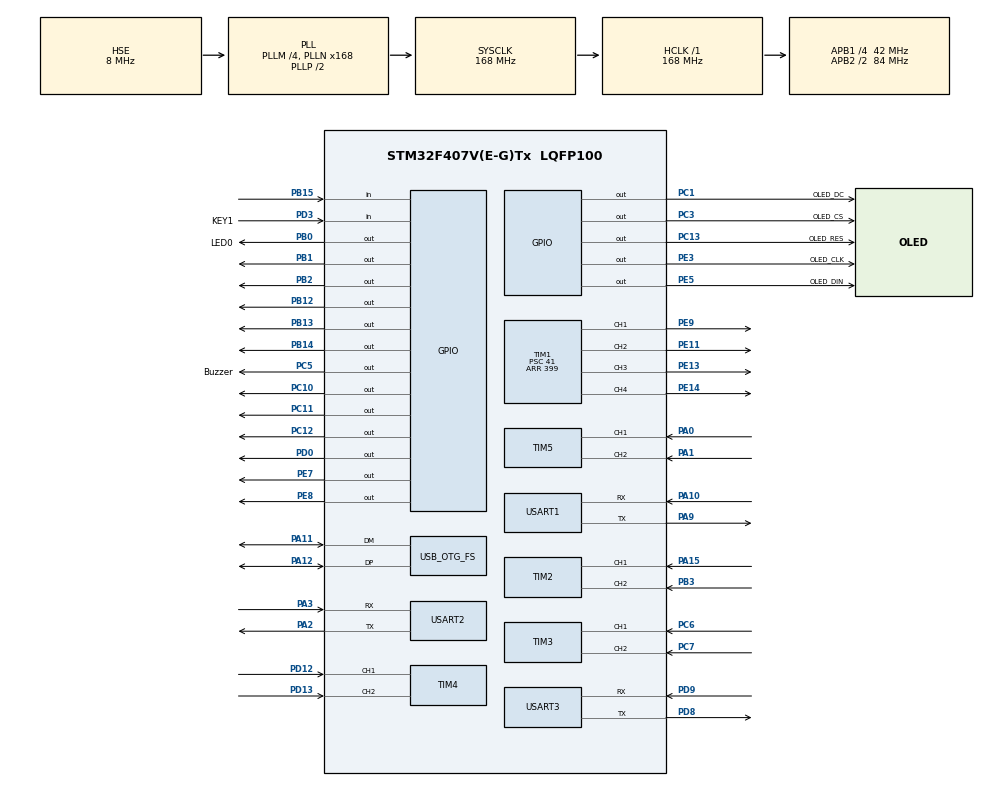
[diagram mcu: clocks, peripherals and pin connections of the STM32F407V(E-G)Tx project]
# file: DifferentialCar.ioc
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Dma.Request0=USART2_RX
Dma.USART2_RX.0.Direction=DMA_PERIPH_TO_MEMORY
Dma.USART2_RX.0.FIFOMode=DMA_FIFOMODE_DISABLE
Dma.USART2_RX.0.Instance=DMA1_Stream5
Dma.USART2_RX.0.MemDataAlignment=DMA_MDATAALIGN_BYTE
Dma.USART2_RX.0.MemInc=DMA_MINC_ENABLE
Dma.USART2_RX.0.Mode=DMA_CIRCULAR
Dma.USART2_RX.0.PeriphDataAlignment=DMA_PDATAALIGN_BYTE
Dma.USART2_RX.0.PeriphInc=DMA_PINC_DISABLE
Dma.USART2_RX.0.Priority=DMA_PRIORITY_HIGH
Mcu.Family=STM32F4
Mcu.Name=STM32F407V(E-G)Tx
Mcu.Package=LQFP100
NVIC.DMA1_Stream5_IRQn=true\:0\:0\:false\:false\:true\:false\:true\:true
NVIC.OTG_FS_IRQn=true\:0\:0\:false\:false\:true\:false\:true\:true
NVIC.PriorityGroup=NVIC_PRIORITYGROUP_4
NVIC.TIM6_DAC_IRQn=true\:10\:0\:true\:false\:true\:true\:true\:true
NVIC.TIM7_IRQn=true\:9\:0\:true\:false\:true\:true\:true\:true
NVIC.TIM8_TRG_COM_TIM14_IRQn=true\:15\:0\:false\:false\:true\:false\:true\:true
NVIC.TimeBase=TIM8_TRG_COM_TIM14_IRQn
NVIC.TimeBaseIP=TIM14
PA0-WKUP.Signal=S_TIM5_CH1
PA1.Signal=S_TIM5_CH2
PA10.Mode=Asynchronous
PA10.Signal=USART1_RX
PA11.Mode=Device_Only
PA11.Signal=USB_OTG_FS_DM
PA12.Mode=Device_Only
PA12.Signal=USB_OTG_FS_DP
PA13.Mode=Serial_Wire
PA13.Signal=SYS_JTMS-SWDIO
PA14.Mode=Serial_Wire
PA14.Signal=SYS_JTCK-SWCLK
PA15.Signal=S_TIM2_CH1_ETR
PA2.Mode=Asynchronous
PA2.Signal=USART2_TX
PA3.Mode=Asynchronous
PA3.Signal=USART2_RX
PA9.Mode=Asynchronous
PA9.Signal=USART1_TX
PB0.GPIO_Label=LED0
PB0.Signal=GPIO_Output
PB1.Signal=GPIO_Output
PB12.GPIO_PuPd=GPIO_PULLUP
PB12.GPIO_Speed=GPIO_SPEED_FREQ_VERY_HIGH
PB12.Signal=GPIO_Output
PB13.GPIO_PuPd=GPIO_PULLUP
PB13.GPIO_Speed=GPIO_SPEED_FREQ_VERY_HIGH
PB13.Signal=GPIO_Output
PB14.GPIO_PuPd=GPIO_PULLUP
PB14.GPIO_Speed=GPIO_SPEED_FREQ_VERY_HIGH
PB14.Signal=GPIO_Output
PB15.Signal=GPIO_Input
PB2.Signal=GPIO_Output
PB3.Signal=S_TIM2_CH2
PC1.GPIO_Label=OLED_DC
PC1.GPIO_Speed=GPIO_SPEED_FREQ_MEDIUM
PC1.PinState=GPIO_PIN_SET
PC1.Signal=GPIO_Output
PC10.Signal=GPIO_Output
PC11.Signal=GPIO_Output
PC12.Signal=GPIO_Output
PC13-ANTI_TAMP.GPIO_Label=OLED_RES
PC13-ANTI_TAMP.Signal=GPIO_Output
PC14-OSC32_IN.Mode=LSE-External-Oscillator
PC14-OSC32_IN.Signal=RCC_OSC32_IN
PC15-OSC32_OUT.Mode=LSE-External-Oscillator
PC15-OSC32_OUT.Signal=RCC_OSC32_OUT
PC3.GPIO_Label=OLED_CS
PC3.GPIO_Speed=GPIO_SPEED_FREQ_MEDIUM
PC3.PinState=GPIO_PIN_RESET
PC3.Signal=GPIO_Output
PC5.GPIO_Label=Buzzer
PC5.GPIO_Speed=GPIO_SPEED_FREQ_HIGH
PC5.Signal=GPIO_Output
PC6.Signal=S_TIM3_CH1
PC7.Signal=S_TIM3_CH2
PD0.Signal=GPIO_Output
PD12.Signal=S_TIM4_CH1
PD13.Signal=S_TIM4_CH2
PD3.GPIO_Label=KEY1
PD3.Signal=GPIO_Input
PD8.Mode=Asynchronous
PD8.Signal=USART3_TX
PD9.Mode=Asynchronous
PD9.Signal=USART3_RX
PE11.Signal=S_TIM1_CH2
PE13.Signal=S_TIM1_CH3
PE14.Signal=S_TIM1_CH4
PE3.GPIO_Label=OLED_CLK
PE3.GPIO_Speed=GPIO_SPEED_FREQ_MEDIUM
PE3.PinState=GPIO_PIN_SET
PE3.Signal=GPIO_Output
PE5.GPIO_Label=OLED_DIN
PE5.GPIO_Speed=GPIO_SPEED_FREQ_MEDIUM
PE5.PinState=GPIO_PIN_SET
PE5.Signal=GPIO_Output
PE7.Signal=GPIO_Output
PE8.Signal=GPIO_Output
PE9.Signal=S_TIM1_CH1
PH0-OSC_IN.Mode=HSE-External-Oscillator
PH0-OSC_IN.Signal=RCC_OSC_IN
PH1-OSC_OUT.Mode=HSE-External-Oscillator
PH1-OSC_OUT.Signal=RCC_OSC_OUT
ProjectManager.HeapSize=0x200
ProjectManager.StackSize=0x400
ProjectManager.TargetToolchain=MDK-ARM V5.32
RCC.48MHZClocksFreq_Value=48000000
RCC.AHBFreq_Value=168000000
RCC.APB1CLKDivider=RCC_HCLK_DIV4
RCC.APB1Freq_Value=42000000
RCC.APB1TimFreq_Value=84000000
RCC.APB2CLKDivider=RCC_HCLK_DIV2
RCC.APB2Freq_Value=84000000
RCC.APB2TimFreq_Value=168000000
RCC.CortexFreq_Value=168000000
RCC.HCLKFreq_Value=168000000
RCC.HSE_VALUE=8000000
RCC.HSI_VALUE=16000000
RCC.PLLM=4
RCC.PLLN=168
RCC.PLLQ=7
RCC.SYSCLKFreq_VALUE=168000000
RCC.SYSCLKSource=RCC_SYSCLKSOURCE_PLLCLK
RCC.VCOOutputFreq_Value=336000000
SH.S_TIM1_CH1.0=TIM1_CH1,PWM Generation1 CH1
SH.S_TIM1_CH2.0=TIM1_CH2,PWM Generation2 CH2
SH.S_TIM1_CH3.0=TIM1_CH3,PWM Generation3 CH3
SH.S_TIM1_CH4.0=TIM1_CH4,PWM Generation4 CH4
SH.S_TIM2_CH1_ETR.0=TIM2_CH1,Encoder_Interface
SH.S_TIM2_CH2.0=TIM2_CH2,Encoder_Interface
SH.S_TIM3_CH1.0=TIM3_CH1,Encoder_Interface
SH.S_TIM3_CH2.0=TIM3_CH2,Encoder_Interface
SH.S_TIM4_CH1.0=TIM4_CH1,Encoder_Interface
SH.S_TIM4_CH2.0=TIM4_CH2,Encoder_Interface
SH.S_TIM5_CH1.0=TIM5_CH1,Encoder_Interface
SH.S_TIM5_CH2.0=TIM5_CH2,Encoder_Interface
TIM1.Channel-PWM\ Generation1\ CH1=TIM_CHANNEL_1
TIM1.Channel-PWM\ Generation2\ CH2=TIM_CHANNEL_2
TIM1.Channel-PWM\ Generation3\ CH3=TIM_CHANNEL_3
TIM1.Channel-PWM\ Generation4\ CH4=TIM_CHANNEL_4
TIM1.Period=399
TIM1.Prescaler=41
TIM2.EncoderMode=TIM_ENCODERMODE_TI12
TIM3.EncoderMode=TIM_ENCODERMODE_TI12
TIM4.EncoderMode=TIM_ENCODERMODE_TI12
TIM5.EncoderMode=TIM_ENCODERMODE_TI12
TIM6.Period=999
TIM6.Prescaler=167
TIM7.Period=9999
TIM7.Prescaler=167
USART1.VirtualMode=VM_ASYNC
USART2.VirtualMode=VM_ASYNC
USART3.VirtualMode=VM_ASYNC
USB_DEVICE.CLASS_NAME_FS=CDC
USB_DEVICE.VirtualMode-CDC_FS=Cdc
USB_DEVICE.VirtualModeFS=Cdc_FS
USB_OTG_FS.VirtualMode=Device_Only
VP_SYS_VS_tim14.Mode=TIM14
VP_TIM6_VS_ClockSourceINT.Mode=Enable_Timer
VP_TIM7_VS_ClockSourceINT.Mode=Enable_Timer
VP_USB_DEVICE_VS_USB_DEVICE_CDC_FS.Mode=CDC_FS
board=custom

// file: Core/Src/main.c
/* USER CODE BEGIN Header */
/**
 ******************************************************************************
 * @file           : main.c
 * @brief          : Main program body
 ******************************************************************************
 * @attention
 *
 * Copyright (c) 2025 STMicroelectronics.
 * All rights reserved.
 *
 * This software is licensed under terms that can be found in the LICENSE file
 * in the root directory of this software component.
 * If no LICENSE file comes with this software, it is provided AS-IS.
 *
 ******************************************************************************
 */
/* USER CODE END Header */
#include "main.h"
#include "dma.h"
#include "tim.h"
#include "usart.h"
#include "usb_device.h"
#include "gpio.h"

/* USER CODE BEGIN Includes */
// #include "ax_ps2.h"
// #include "ax_sys.h"   //系统设置
// #include "ax_delay.h" //软件延时
#include "WIT.h"
#include "oled.h"
#include "APP_classic.h"
/* USER CODE END Includes */

void SystemClock_Config(void);

/* USER CODE BEGIN 0 */
uint8_t key = 0;
int8_t email[44] = {NULL};

float Turning_data[2][2] = {0.8f, 1.4f, 1.4f, 0.8f}; //

MG513 A_motor;
MG513 B_motor;
Car car;

WIT wit;

// JOYSTICK_TypeDef my_joystick; // PS2手柄数据

//void KEY_SCAN(); // 按键扫描
void Grayscale_sensing_scan(Car *mg, GPIO_TypeDef *GPIO1, uint16_t GPIO_Pin1, GPIO_TypeDef *GPIO2, uint16_t GPIO_Pin2, GPIO_TypeDef *GPIO3,
                            uint16_t GPIO_Pin3, GPIO_TypeDef *GPIO4, uint16_t GPIO_Pin4);

/* USER CODE END 0 */

int main(void)
{

  /* MCU Configuration--------------------------------------------------------*/

  /* Reset of all peripherals, Initializes the Flash interface and the Systick. */
  HAL_Init();

  /* Configure the system clock */
  SystemClock_Config();

  /* Initialize all configured peripherals */
  MX_GPIO_Init();
  MX_DMA_Init();
  MX_TIM1_Init();
  MX_TIM2_Init();
  MX_TIM3_Init();
  MX_USART1_UART_Init();
  MX_USART2_UART_Init();
  MX_USART3_UART_Init();
  MX_TIM6_Init();
  MX_TIM7_Init();
  MX_TIM4_Init();
  MX_TIM5_Init();
  MX_USB_DEVICE_Init();
  /* USER CODE BEGIN 2 */
  MG513_Init(&A_motor, PID_POSITION, 1.0f, 100.0f, 1.0f, 5.0f, 300.0f, 200.0f);
  MG513_Init(&B_motor, PID_POSITION, -1.0f, 100.0f, 1.0f, 5.0f, 300.0f, 200.0f);

  Classic_init(&car, &A_motor, &B_motor, NULL, NULL);

  MG513_Motor_pwm_init();

  HAL_TIM_Base_Start_IT(&htim6);
  HAL_TIM_Base_Start_IT(&htim7);

  // OLED_Init();

  /* USER CODE END 2 */

  /* Infinite loop */
  /* USER CODE BEGIN WHILE */
  while (1)
  {
	  printf("%f/n",car.motorgroup[0]->pid1.wheel_speed);
	  printf("%f/n",car.motorgroup[1]->pid1.wheel_speed);
    // //    AX_PS2_ScanKey(&my_joystick); // PS2手柄数据获取
    // ////    AX_Delayms(10);               // PS2的SPI模拟延时
    // KEY_SCAN();
    // HAL_Delay(10);
    // switch (key)
    // {
    // case 0:
    // {
    //   OLED_ShowString(0, 0, "key=");
    //   OLED_ShowNum(40, 0, key, 2, 16);
    //   break;
    // }
    // case 1:
    // {
    //   OLED_ShowString(0, 0, "key=");
    //   OLED_ShowNum(40, 0, key, 2, 16);
    //   break;
    // }
    // case 2:
    // {
    //   OLED_ShowString(0, 0, "key=");
    //   OLED_ShowNum(40, 0, key, 2, 16);
    //   break;
    // }
    // }
    /* USER CODE END WHILE */

  }
}

void SystemClock_Config(void)
{
  RCC_OscInitTypeDef RCC_OscInitStruct = {0};
  RCC_ClkInitTypeDef RCC_ClkInitStruct = {0};

  /** Configure the main internal regulator output voltage
  */
  __HAL_RCC_PWR_CLK_ENABLE();
  __HAL_PWR_VOLTAGESCALING_CONFIG(PWR_REGULATOR_VOLTAGE_SCALE1);

  /** Initializes the RCC Oscillators according to the specified parameters
  * in the RCC_OscInitTypeDef structure.
  */
  RCC_OscInitStruct.OscillatorType = RCC_OSCILLATORTYPE_HSE;
  RCC_OscInitStruct.HSEState = RCC_HSE_ON;
  RCC_OscInitStruct.PLL.PLLState = RCC_PLL_ON;
  RCC_OscInitStruct.PLL.PLLSource = RCC_PLLSOURCE_HSE;
  RCC_OscInitStruct.PLL.PLLM = 4;
  RCC_OscInitStruct.PLL.PLLN = 168;
  RCC_OscInitStruct.PLL.PLLP = RCC_PLLP_DIV2;
  RCC_OscInitStruct.PLL.PLLQ = 7;
  if (HAL_RCC_OscConfig(&RCC_OscInitStruct) != HAL_OK)
  {
    Error_Handler();
  }

  /** Initializes the CPU, AHB and APB buses clocks
  */
  RCC_ClkInitStruct.ClockType = RCC_CLOCKTYPE_HCLK|RCC_CLOCKTYPE_SYSCLK
                              |RCC_CLOCKTYPE_PCLK1|RCC_CLOCKTYPE_PCLK2;
  RCC_ClkInitStruct.SYSCLKSource = RCC_SYSCLKSOURCE_PLLCLK;
  RCC_ClkInitStruct.AHBCLKDivider = RCC_SYSCLK_DIV1;
  RCC_ClkInitStruct.APB1CLKDivider = RCC_HCLK_DIV4;
  RCC_ClkInitStruct.APB2CLKDivider = RCC_HCLK_DIV2;

  if (HAL_RCC_ClockConfig(&RCC_ClkInitStruct, FLASH_LATENCY_5) != HAL_OK)
  {
    Error_Handler();
  }
}

/* USER CODE BEGIN 4 */
void KEY_SCAN()
{
  if (HAL_GPIO_ReadPin(GPIOA, GPIO_PIN_0) == GPIO_PIN_RESET)
  {
    if (HAL_GPIO_ReadPin(GPIOA, GPIO_PIN_0) == GPIO_PIN_RESET)
    {
      HAL_Delay(10);
      key++;
      //      if (key > 6)
      //        key = 0;
    }
  }
}

void Grayscale_sensing_scan(Car *mg, GPIO_TypeDef *GPIO1, uint16_t GPIO_Pin1, GPIO_TypeDef *GPIO2, uint16_t GPIO_Pin2, GPIO_TypeDef *GPIO3,
                            uint16_t GPIO_Pin3, GPIO_TypeDef *GPIO4, uint16_t GPIO_Pin4)
{
  static uint8_t time = 0;
  if (HAL_GPIO_ReadPin(GPIO1, GPIO_Pin1) == GPIO_PIN_SET || HAL_GPIO_ReadPin(GPIO2, GPIO_Pin2) == GPIO_PIN_SET ||
      HAL_GPIO_ReadPin(GPIO3, GPIO_Pin3) == GPIO_PIN_SET || HAL_GPIO_ReadPin(GPIO4, GPIO_Pin4) == GPIO_PIN_SET)
  {
    time++;
    if (time % 2 != 0)
    {
      //
      MG513_SET(&mg->motorgroup[0]->pid1, 1);
      MG513_SET(&mg->motorgroup[1]->pid1, 1);
    }
    else
    {
      if (time % 4 == 0)
      {
        MG513_SET(&mg->motorgroup[0]->pid1, 1.4);
        MG513_SET(&mg->motorgroup[1]->pid1, 0.8);
      }
      else if (time % 4 == 2)
      {
        MG513_SET(&mg->motorgroup[0]->pid1, 0);
        MG513_SET(&mg->motorgroup[1]->pid1, 0);
      }
    }
  }
}
/* USER CODE END 4 */

void HAL_TIM_PeriodElapsedCallback(TIM_HandleTypeDef *htim)
{
  /* USER CODE BEGIN Callback 0 */
  if (htim == &htim6)
  {
    MG513_encodervalue_get(car.motorgroup[0]->cout, &htim2);
    MG513_encodervalue_get(car.motorgroup[1]->cout, &htim3);
  }
  if (htim == &htim7)
  {
    // 底盘计算
    MG513_Calculate(&car.motorgroup[0]->pid1, car.motorgroup[0]->cout);
    MG513_Calculate(&car.motorgroup[1]->pid1, car.motorgroup[1]->cout);
    //
    pids *temp_pid[4] = {NULL};
    for (int i = 0; i < 4; i++)
    {
      temp_pid[i] = &car.motorgroup[i]->pid1;
    }
    MG513_pwm_send(temp_pid);
  }
  /* USER CODE END Callback 0 */
  if (htim->Instance == TIM14) {
    HAL_IncTick();
  }
}

void Error_Handler(void)
{
  __disable_irq();
  while (1)
  {
  }
}
